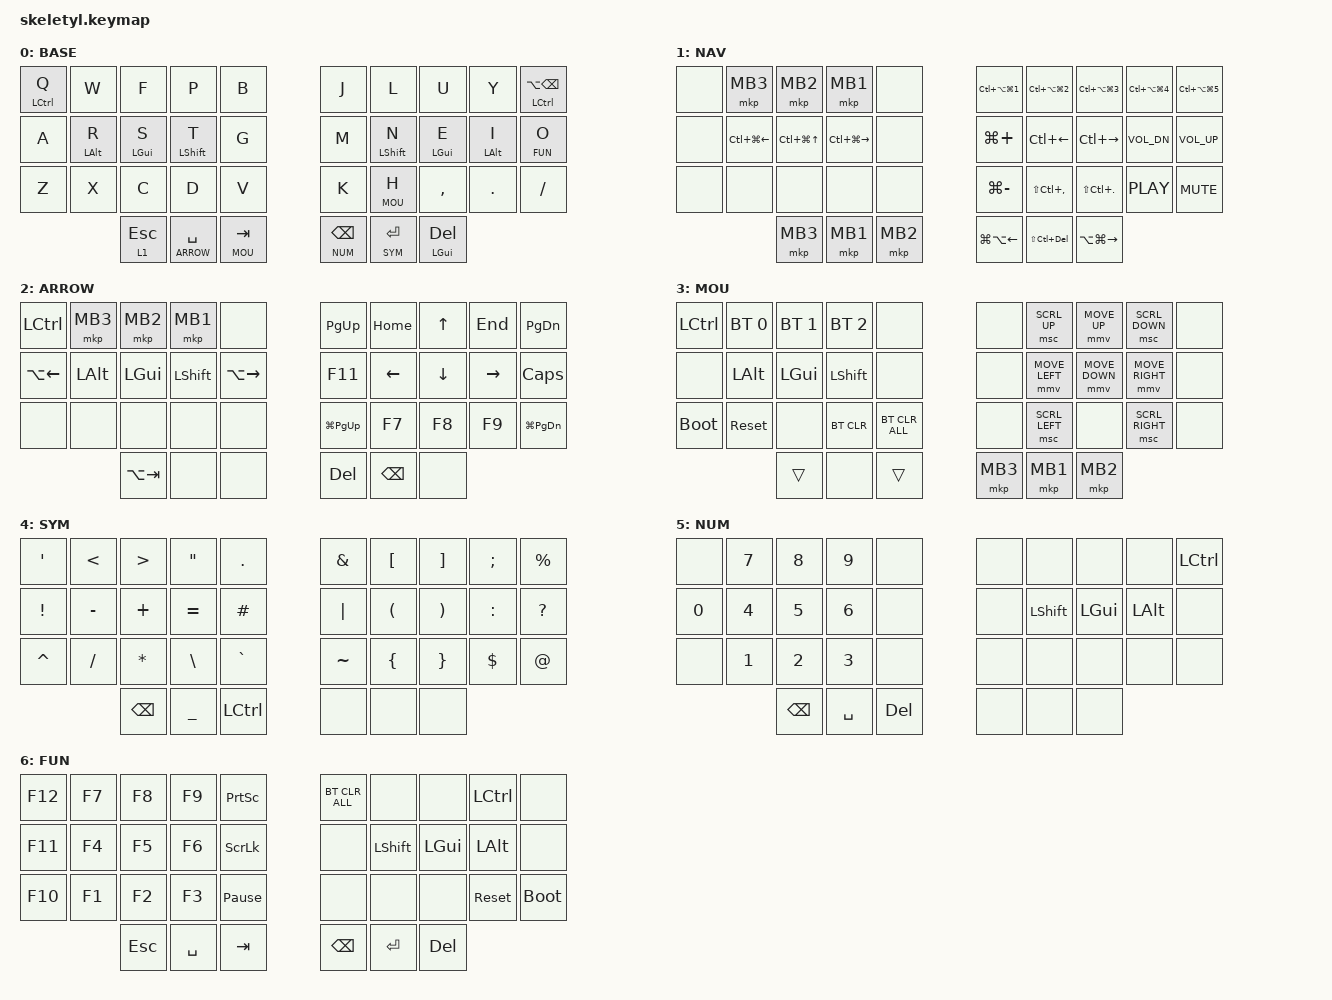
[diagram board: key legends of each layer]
#include <behaviors.dtsi>
#include <dt-bindings/zmk/keys.h>
#include <dt-bindings/zmk/bt.h>
#include <dt-bindings/zmk/outputs.h>
#include "includes/mouse.dtsi"

// Modified keymap based on personal experience, with some improvements based on Miryoku layout.

#define BASE    0
#define NAV     1
#define ARROW   2
#define MOU     3
#define SYM     4
#define NUM     5
#define FUN     6

#define AS(keycode) &as LS(keycode) keycode     // Autoshift Macro

/ {
    behaviors {
        as: auto_shift {
            compatible = "zmk,behavior-hold-tap";
            label = "AUTO_SHIFT";
            #binding-cells = <2>;
            tapping-term-ms = <135>;
            quick-tap-ms = <0>;
            flavor = "tap-preferred";
            bindings = <&kp>, <&kp>;
        };

        hm: homerow_mods {
            compatible = "zmk,behavior-hold-tap";
            label = "HOMEROW_MODS";
            #binding-cells = <2>;
            tapping-term-ms = <175>;
            quick-tap-ms = <0>;
            flavor = "tap-preferred";
            bindings = <&kp>, <&kp>;
        };

        hmp: homerow_mods_pinky {
            compatible = "zmk,behavior-hold-tap";
            label = "HOMEROW_MODS";
            #binding-cells = <2>;
            tapping-term-ms = <200>;
            quick-tap-ms = <0>;
            flavor = "tap-preferred";
            bindings = <&kp>, <&kp>;
        };
    };

    combos {
        compatible = "zmk,combos";

        // Combos for media player.
        // I often switch songs while drawing, so I assign the
        // combos on left hand side.

        combo_med_next {
            timeout-ms = <50>;
            key-positions = <2 3>;
            bindings = <&kp C_NEXT>;
        };

        combo_med_prev {
            timeout-ms = <50>;
            key-positions = <1 2>;
            bindings = <&kp C_PREV>;
        };

        combo_med_pp {
            timeout-ms = <50>;
            key-positions = <1 4>;
            bindings = <&kp C_PP>;
        };

        combo_med_stop {
            timeout-ms = <50>;
            key-positions = <1 3>;
            bindings = <&kp C_STOP>;
        };

        combo_med_vol_up {
            timeout-ms = <50>; // FT
            key-positions = <2 13>;
            bindings = <&kp C_VOL_UP>;
        };

        combo_med_vol_dn {
            timeout-ms = <50>; // PS
            key-positions = <3 12>;
            bindings = <&kp C_VOL_DN>;
        };

        combo_med_mute {
            timeout-ms = <50>; // SG
            key-positions = <12 14>;
            bindings = <&kp C_MUTE>;
        };

        // Combo for bluetooth control
        // (i.e. switch among the devices).
        //        combo_bt_next {
        //            timeout-ms = <50>; // ,.
        //            key-positions = <27 28>;
        //            bindings = <&bt BT_NXT>;
        //        };
        //        combo_bt_prev {
        //            timeout-ms = <50>; //H,wb
        //            key-positions = <26 27>;
        //            bindings = <&bt BT_PRV>;
        //        };
        //        combo_bt_clr {
        //            timeout-ms = <50>;
        //            key-positions = <0 9>;
        //            bindings = <&bt BT_CLR>;
        //        };
        //        combo_bt_out_tog {
        //            timeout-ms = <50>;
        //            key-positions = <4 5>;
        //            bindings = <&out OUT_TOG>;
        //        };
    };

    // things that want to do while hand in mouse?

    keymap {
        compatible = "zmk,keymap";

        BASE {
            bindings = <
&hmp LEFT_CONTROL Q  &kp W        &kp F        &kp P         &kp B                                       &kp J          &kp L          &kp U        &kp Y        &hmp LCTRL LA(BSPC)
&kp A                &hmp LALT R  &hmp LGUI S  &hmp LSHFT T  &kp G                                       &kp M          &hmp LSHFT N   &hmp LGUI E  &hmp LALT I  &lt FUN O
&kp Z                &kp X        &kp C        &kp D         &kp V                                       &kp K          &lt MOU H      &kp COMMA    &kp DOT      &kp FSLH
                                               &lt 1 ESC     &lt ARROW SPACE  &lt MOU TAB  &lt NUM BSPC  &lt SYM ENTER  &hmp LGUI DEL
            >;
        };

        NAV {
            bindings = <
&none  &mkp MB3          &mkp MB2        &mkp MB1           &none                                 &kp LC(LA(LG(N1)))  &kp LC(LA(LG(N2)))  &kp LC(LA(LG(N3)))  &kp LC(LA(LG(N4)))  &kp LC(LA(LG(N5)))
&none  &kp LC(LG(LEFT))  &kp LC(LG(UP))  &kp LC(LG(RIGHT))  &none                                 &kp LG(PLUS)        &kp LC(LEFT)        &kp LC(RIGHT)       &kp C_VOL_DN        &kp C_VOL_UP
&none  &none             &none           &none              &none                                 &kp LG(MINUS)       &kp LS(LC(COMMA))   &kp LS(LC(DOT))     &kp C_PLAY          &kp C_MUTE
                                         &mkp MB3           &mkp MB1  &mkp MB2  &kp LG(LA(LEFT))  &kp LS(LC(DELETE))  &kp LA(LG(RIGHT))
            >;
        };

        ARROW {
            bindings = <
&kp LCTRL     &mkp MB3  &mkp MB2  &mkp MB1     &none                          &kp PG_UP        &kp HOME  &kp UP    &kp END    &kp PG_DN
&kp LA(LEFT)  &kp LALT  &kp LGUI  &kp LSHFT    &kp LA(RIGHT)                  &kp F11          &kp LEFT  &kp DOWN  &kp RIGHT  &kp CAPS
&none         &none     &none     &none        &none                          &kp LG(PAGE_UP)  &kp F7    &kp F8    &kp F9     &kp LG(PAGE_DOWN)
                                  &kp LA(TAB)  &none          &none  &kp DEL  &kp BSPC         &none
            >;
        };

        MOU {
            bindings = <
&kp LCTRL    &bt BT_SEL 0  &bt BT_SEL 1  &bt BT_SEL 2  &none                             &none     &msc SCRL_UP    &mmv MOVE_UP    &msc SCRL_DOWN   &none
&none        &kp LALT      &kp LGUI      &kp LSHFT     &none                             &none     &mmv MOVE_LEFT  &mmv MOVE_DOWN  &mmv MOVE_RIGHT  &none
&bootloader  &sys_reset    &none         &bt BT_CLR    &bt BT_CLR_ALL                    &none     &msc SCRL_LEFT  &none           &msc SCRL_RIGHT  &none
                                         &trans        &none           &trans  &mkp MB3  &mkp MB1  &mkp MB2
            >;
        };

        SYM {
            bindings = <
&kp SQT    &kp LT     &kp GT     &kp DQT        &kp DOT                           &kp AMPS   &kp LBKT  &kp RBKT  &kp SEMICOLON  &kp PERCENT
&kp EXCL   &kp MINUS  &kp PLUS   &kp EQUAL      &kp HASH                          &kp PIPE   &kp LPAR  &kp RPAR  &kp COLON      &kp QUESTION
&kp CARET  &kp FSLH   &kp ASTRK  &kp BACKSLASH  &kp GRAVE                         &kp TILDE  &kp LBRC  &kp RBRC  &kp DOLLAR     &kp AT
                                 &kp BSPC       &kp UNDERSCORE  &kp LCTRL  &none  &none      &none
            >;
        };

        NUM {
            bindings = <
&none   &kp N7  &kp N8  &kp N9         &none                         &none  &none      &none     &none     &kp LCTRL
&kp N0  &kp N4  &kp N5  &kp N6         &none                         &none  &kp LSHFT  &kp LGUI  &kp LALT  &none
&none   &kp N1  &kp N2  &kp N3         &none                         &none  &none      &none     &none     &none
                        &kp BACKSPACE  &kp SPACE  &kp DELETE  &none  &none  &none
            >;
        };

        FUN {
            bindings = <
&kp F12  &kp F7  &kp F8  &kp F9   &kp PSCRN                                &bt BT_CLR_ALL  &none      &none     &kp LCTRL   &none
&kp F11  &kp F4  &kp F5  &kp F6   &kp SLCK                                 &none           &kp LSHFT  &kp LGUI  &kp LALT    &none
&kp F10  &kp F1  &kp F2  &kp F3   &kp PAUSE_BREAK                          &none           &none      &none     &sys_reset  &bootloader
                         &kp ESC  &kp SPACE        &kp TAB  &kp BACKSPACE  &kp ENTER       &kp DEL
            >;
        };
    };
};
